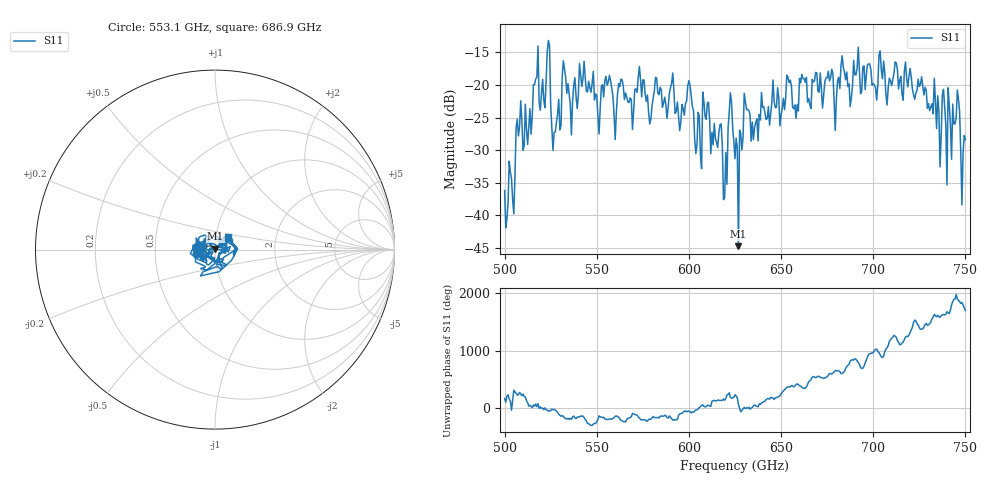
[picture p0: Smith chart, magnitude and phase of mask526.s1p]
!Created with skrf (http://scikit-rf.org).
# GHz S MA R 50.0
!freq magS11 angS11
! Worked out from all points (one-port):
!   401 points, 500 GHz to 750 GHz, reference 50 ohm
!   lowest |S11| = -44.7 dB at 626.9 GHz (marker M1), VSWR 1.01, Z = 50.2 + j0.53 ohm
!   |S11| at or under -10 dB: start of sweep to end of sweep
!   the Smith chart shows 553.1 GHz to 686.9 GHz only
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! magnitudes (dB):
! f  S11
! 500 GHz  -36.2
! 504.4 GHz  -37.7
! 507.5 GHz  -27.8
! 513.8 GHz  -23.6
! 516.9 GHz  -19.1
! 520.6 GHz  -19.1
! 523.8 GHz  -13.2
! 526.9 GHz  -27.3
! 531.2 GHz  -18.6
! 556.2 GHz  -19.5
! 560 GHz  -28.3
! 562.5 GHz  -20.2
! 579.4 GHz  -25.2
! 590.6 GHz  -19.7
! 593.8 GHz  -22.6
! 600.6 GHz  -20.0
! 605.6 GHz  -24.7
! 608.8 GHz  -24.8
! 619.4 GHz  -37.3
! 622.5 GHz  -21.2
! 625 GHz  -31.3
! 626.9 GHz  -44.7
! 631.2 GHz  -23.8
! 635 GHz  -28.4
! 656.2 GHz  -23.4
! 687.5 GHz  -23.3
! 718.8 GHz  -20.3
! 750 GHz  -28.4
